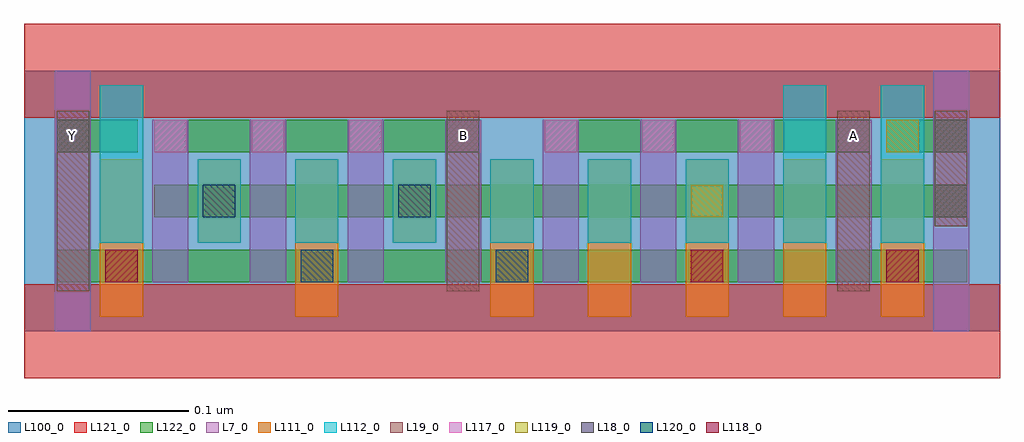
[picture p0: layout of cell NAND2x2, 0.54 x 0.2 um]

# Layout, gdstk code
import gdstk
lib = gdstk.Library(unit=1e-6, precision=2.5e-10)
def R(c, l, rs):  # rectangles x0, y0, x1, y1
    for r in rs: c.add(gdstk.rectangle(r[:2], r[2:], *l))
def A(c, l, x, y, w, h, nx, ny, dx, dy):  # array of equal rectangles
    R(c, l, [(x+i*dx, y+j*dy, x+i*dx+w, y+j*dy+h) for i in range(nx) for j in range(ny)])
L7_0 = (7, 0)
L18_0 = (18, 0)
L19_0 = (19, 0)
L100_0 = (100, 0)
L111_0 = (111, 0)
L112_0 = (112, 0)
L117_0 = (117, 0)
L118_0 = (118, 0)
L119_0 = (119, 0)
L120_0 = (120, 0)
L121_0 = (121, 0)
L122_0 = (122, 0)

nand2x2 = lib.new_cell('NAND2x2')
A(nand2x2, L7_0, 0.071, 0.027, 0.02, 0.09, 8, 1, 0.054, 0)
R(nand2x2, L7_0, [(0.017,0,0.037,0.144), (0.503,0,0.523,0.144)])
A(nand2x2, L18_0, 0.018, 0.099, 0.018, 0.018, 3, 1, 0.216, 0)
R(nand2x2, L18_0, [(0.504,0.063,0.522,0.081), (0.504,0.099,0.522,0.117)])
A(nand2x2, L19_0, 0.018, 0.022, 0.018, 0.1, 3, 1, 0.216, 0)
R(nand2x2, L19_0, [(0.504,0.058,0.522,0.122)])
R(nand2x2, L100_0, [(0,0,0.54,0.144)])
A(nand2x2, L111_0, 0.042, 0.008, 0.024, 0.087, 3, 1, 0.108, 0)
A(nand2x2, L111_0, 0.312, 0.008, 0.024, 0.087, 4, 1, 0.054, 0)
R(nand2x2, L111_0, [(0.096,0.049,0.12,0.095), (0.204,0.049,0.228,0.095)])
A(nand2x2, L112_0, 0.096, 0.049, 0.024, 0.046, 6, 1, 0.054, 0)
R(nand2x2, L112_0, [(0.042,0.049,0.066,0.136), (0.42,0.049,0.444,0.136), (0.474,0.049,0.498,0.136)])
A(nand2x2, L117_0, 0.072, 0.099, 0.018, 0.018, 8, 1, 0.054, 0)
R(nand2x2, L118_0, [(0.045,0.027,0.063,0.045), (0.369,0.027,0.387,0.045), (0.477,0.027,0.495,0.045)])
R(nand2x2, L119_0, [(0.153,0.027,0.171,0.045), (0.261,0.027,0.279,0.045), (0.099,0.063,0.117,0.081), (0.207,0.063,0.225,0.081), (0.369,0.063,0.387,0.081), (0.477,0.099,0.495,0.117)])
R(nand2x2, L120_0, [(0.153,0.027,0.171,0.045), (0.261,0.027,0.279,0.045), (0.099,0.063,0.117,0.081), (0.207,0.063,0.225,0.081)])
R(nand2x2, L121_0, [(0,-0.026,0.54,0.026), (0,0.118,0.54,0.17)])
R(nand2x2, L122_0, [(0.018,0.027,0.522,0.045), (0.072,0.063,0.522,0.081), (0.018,0.099,0.063,0.117), (0.072,0.099,0.252,0.117), (0.288,0.099,0.468,0.117), (0.477,0.099,0.522,0.117)])
nand2x2.add(gdstk.Label('Y', (0.027,0.108), layer=19, texttype=251))
nand2x2.add(gdstk.Label('B', (0.243,0.108), layer=19, texttype=251))
nand2x2.add(gdstk.Label('A', (0.459,0.108), layer=19, texttype=251))

lib.write_gds('NAND2x2.gds')
